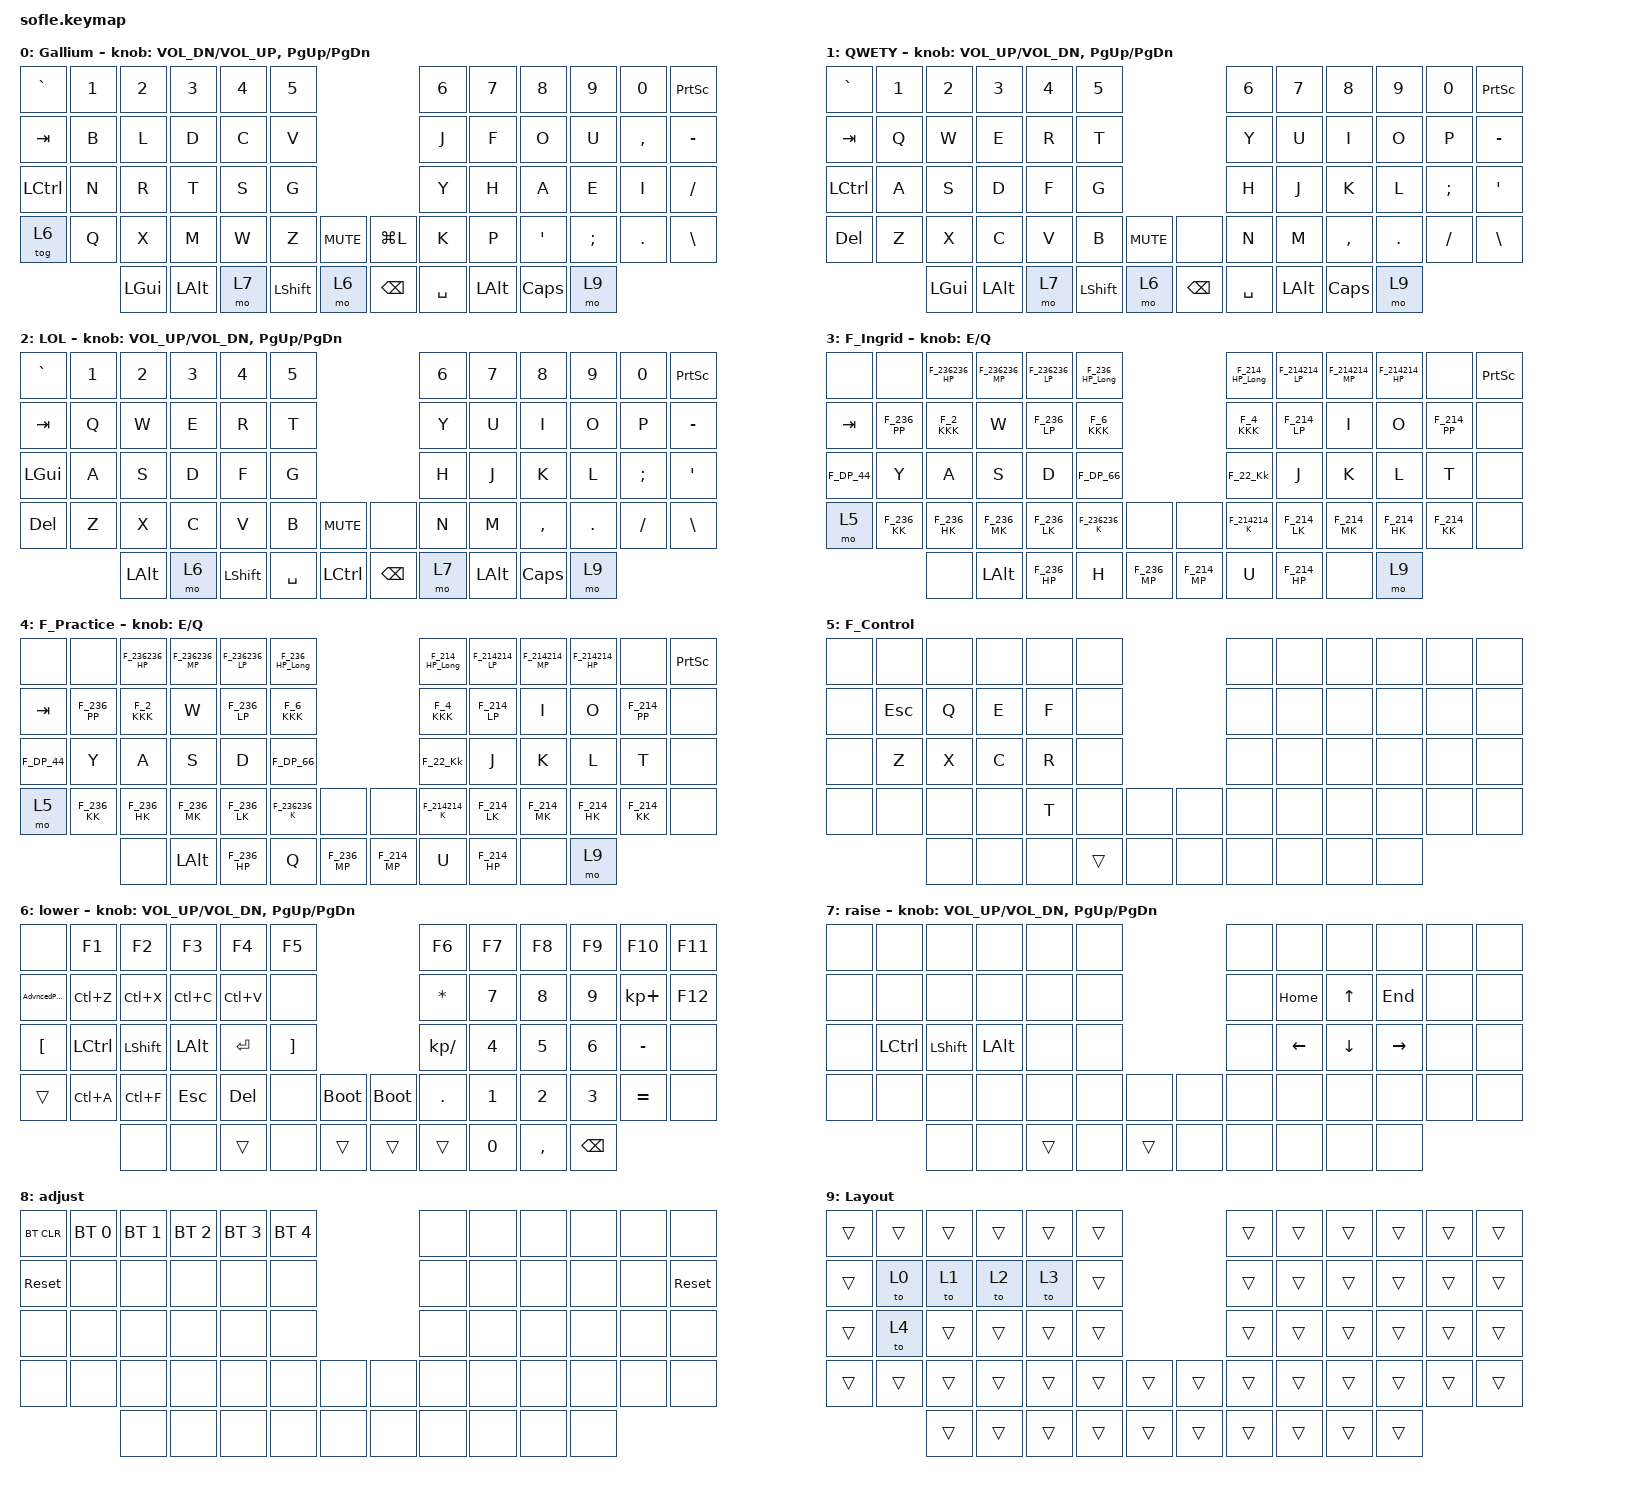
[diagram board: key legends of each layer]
/*
 * Copyright (c) 2020 The ZMK Contributors
 *
 * SPDX-License-Identifier: MIT
 */

#include <behaviors.dtsi>
#include <dt-bindings/zmk/bt.h>
#include <dt-bindings/zmk/keys.h>

#define BASE 0
#define LOWER 1
#define RAISE 2
#define ADJUST 3

/ {
    // Activate ADJUST layer by pressing raise and lower

    conditional_layers {
        compatible = "zmk,conditional-layers";

        adjust_layer {
            if-layers = <6 7>;
            then-layer = <8>;
        };
    };

    macros {
        AdvncedPaste: AdvncedPaste {
            compatible = "zmk,behavior-macro";
            #binding-cells = <0>;
            bindings =
                <&kp LS(LG(V))>,
                <&macro_wait_time 800>,
                <&kp LEFT_GUI>,
                <&macro_wait_time 800>,
                <&kp LEFT_GUI>,
                <&macro_wait_time 800>,
                <&kp LEFT_SHIFT>;

            label = "ADVNCEDPASTE";
        };

        F_623_MK: F_623_MK {
            compatible = "zmk,behavior-macro";
            #binding-cells = <0>;
            bindings = <&kp D &kp S &kp D &kp K>;
            label = "F_623_MK";
        };

        F_421_MK: F_421_MK {
            compatible = "zmk,behavior-macro";
            #binding-cells = <0>;
            bindings = <&kp A &kp S &kp A &kp K>;
            label = "F_421_MK";
        };

        F_623_MP: F_623_MP {
            compatible = "zmk,behavior-macro";
            #binding-cells = <0>;
            bindings = <&kp D &kp S &kp D &kp I>;
            label = "F_623_MP";
        };

        F_421_MP: F_421_MP {
            compatible = "zmk,behavior-macro";
            #binding-cells = <0>;
            bindings = <&kp A &kp S &kp A &kp I>;
            label = "F_421_MP";
        };

        F_236_MK: F_236_MK {
            compatible = "zmk,behavior-macro";
            #binding-cells = <0>;
            bindings =
                <&macro_press>,
                <&kp S &kp D>,
                <&macro_release>,
                <&kp S &kp D>,
                <&macro_tap>,
                <&kp K>;

            label = "F_236_MK";
        };

        F_214_MK: F_214_MK {
            compatible = "zmk,behavior-macro";
            #binding-cells = <0>;
            bindings =
                <&macro_press>,
                <&kp S &kp A>,
                <&macro_release>,
                <&kp S &kp A>,
                <&macro_tap>,
                <&kp K>;

            label = "F_214_MK";
        };

        F_236_MP: F_236_MP {
            compatible = "zmk,behavior-macro";
            #binding-cells = <0>;
            bindings =
                <&macro_press>,
                <&kp S &kp D>,
                <&macro_release>,
                <&kp S &kp D>,
                <&macro_tap>,
                <&kp I>;

            label = "F_236_MP";
        };

        F_214_MP: F_214_MP {
            compatible = "zmk,behavior-macro";
            #binding-cells = <0>;
            bindings =
                <&macro_press>,
                <&kp S &kp A>,
                <&macro_release>,
                <&kp S &kp A>,
                <&macro_tap>,
                <&kp I>;

            label = "F_214_MP";
        };

        F_623_LK: F_623_LK {
            compatible = "zmk,behavior-macro";
            #binding-cells = <0>;
            bindings = <&kp D &kp S &kp D &kp J>;
            label = "F_623_LK";
        };

        F_623_HK: F_623_HK {
            compatible = "zmk,behavior-macro";
            #binding-cells = <0>;
            bindings = <&kp D &kp S &kp D &kp L>;
            label = "F_623_HK";
        };

        F_421_LK: F_421_LK {
            compatible = "zmk,behavior-macro";
            #binding-cells = <0>;
            bindings = <&kp A &kp S &kp A &kp J>;
            label = "F_421_LK";
        };

        F_421_HK: F_421_HK {
            compatible = "zmk,behavior-macro";
            #binding-cells = <0>;
            bindings = <&kp A &kp S &kp A &kp L>;
            label = "F_421_HK";
        };

        F_623_LP: F_623_LP {
            compatible = "zmk,behavior-macro";
            #binding-cells = <0>;
            bindings = <&kp D &kp S &kp D &kp U>;
            label = "F_623_LP";
        };

        F_623_HP: F_623_HP {
            compatible = "zmk,behavior-macro";
            #binding-cells = <0>;
            bindings = <&kp D &kp S &kp D &kp O>;
            label = "F_623_HP";
        };

        F_421_LP: F_421_LP {
            compatible = "zmk,behavior-macro";
            #binding-cells = <0>;
            bindings = <&kp A &kp S &kp A &kp U>;
            label = "F_421_LP";
        };

        F_421_HP: F_421_HP {
            compatible = "zmk,behavior-macro";
            #binding-cells = <0>;
            bindings = <&kp A &kp S &kp A &kp O>;
            label = "F_421_HP";
        };

        F_236_LK: F_236_LK {
            compatible = "zmk,behavior-macro";
            #binding-cells = <0>;
            bindings =
                <&macro_press>,
                <&kp S &kp D>,
                <&macro_release>,
                <&kp S &kp D>,
                <&macro_tap>,
                <&kp J>;

            label = "F_236_LK";
        };

        F_236_HK: F_236_HK {
            compatible = "zmk,behavior-macro";
            #binding-cells = <0>;
            bindings =
                <&macro_press>,
                <&kp S &kp D>,
                <&macro_release>,
                <&kp S &kp D>,
                <&macro_tap>,
                <&kp L>;

            label = "F_236_HK";
        };

        F_214_LK: F_214_LK {
            compatible = "zmk,behavior-macro";
            #binding-cells = <0>;
            bindings =
                <&macro_press>,
                <&kp S &kp A>,
                <&macro_release>,
                <&kp S &kp A>,
                <&macro_tap>,
                <&kp J>;

            label = "F_214_LK";
        };

        F_214_HK: F_214_HK {
            compatible = "zmk,behavior-macro";
            #binding-cells = <0>;
            bindings =
                <&macro_press>,
                <&kp S &kp A>,
                <&macro_release>,
                <&kp S &kp A>,
                <&macro_tap>,
                <&kp L>;

            label = "F_214_HK";
        };

        F_236_LP: F_236_LP {
            compatible = "zmk,behavior-macro";
            #binding-cells = <0>;
            bindings =
                <&macro_press>,
                <&kp S &kp D>,
                <&macro_release>,
                <&kp S &kp D>,
                <&macro_tap>,
                <&kp U>;

            label = "F_236_LP";
        };

        F_236_HP: F_236_HP {
            compatible = "zmk,behavior-macro";
            #binding-cells = <0>;
            bindings =
                <&macro_press>,
                <&kp S &kp D>,
                <&macro_release>,
                <&kp S &kp D>,
                <&macro_tap>,
                <&kp O>;

            label = "F_236_HP";
        };

        F_214_LP: F_214_LP {
            compatible = "zmk,behavior-macro";
            #binding-cells = <0>;
            bindings =
                <&macro_press>,
                <&kp S &kp A>,
                <&macro_release>,
                <&kp S &kp A>,
                <&macro_tap>,
                <&kp U>;

            label = "F_214_LP";
        };

        F_214_HP: F_214_HP {
            compatible = "zmk,behavior-macro";
            #binding-cells = <0>;
            bindings =
                <&macro_press>,
                <&kp S &kp A>,
                <&macro_release>,
                <&kp S &kp A>,
                <&macro_tap>,
                <&kp O>;

            label = "F_214_HP";
        };

        F_623_KK: F_623_KK {
            compatible = "zmk,behavior-macro";
            #binding-cells = <0>;
            bindings = <&kp D &kp S &kp D &kp N>;
            label = "F_623_KK";
        };

        F_236_PP: F_236_PP {
            compatible = "zmk,behavior-macro";
            #binding-cells = <0>;
            bindings =
                <&macro_press>,
                <&kp S &kp D>,
                <&macro_release>,
                <&kp S &kp D>,
                <&macro_tap>,
                <&kp B>;

            label = "F_236_PP";
        };

        F_236_KK: F_236_KK {
            compatible = "zmk,behavior-macro";
            #binding-cells = <0>;
            bindings =
                <&macro_press>,
                <&kp S &kp D>,
                <&macro_release>,
                <&kp S &kp D>,
                <&macro_tap>,
                <&kp N>;

            label = "F_236_KK";
        };

        F_421_KK: F_421_KK {
            compatible = "zmk,behavior-macro";
            #binding-cells = <0>;
            bindings = <&kp A &kp S &kp A &kp N>;
            label = "F_421_KK";
        };

        F_214_PP: F_214_PP {
            compatible = "zmk,behavior-macro";
            #binding-cells = <0>;
            bindings =
                <&macro_press>,
                <&kp S &kp A>,
                <&macro_release>,
                <&kp S &kp A>,
                <&macro_tap>,
                <&kp B>;

            label = "F_214_PP";
        };

        F_214_KK: F_214_KK {
            compatible = "zmk,behavior-macro";
            #binding-cells = <0>;
            bindings =
                <&macro_press>,
                <&kp S &kp A>,
                <&macro_release>,
                <&kp S &kp A>,
                <&macro_tap>,
                <&kp N>;

            label = "F_214_KK";
        };

        F_236236_MP: F_236236_P {
            compatible = "zmk,behavior-macro";
            #binding-cells = <0>;
            bindings =
                <&macro_press>,
                <&kp S &kp D>,
                <&macro_release>,
                <&kp S &kp D>,
                <&macro_press>,
                <&kp S &kp D>,
                <&macro_release>,
                <&kp S &kp D>,
                <&macro_tap>,
                <&macro_tap_time 1800>,
                <&kp I>;

            label = "F_236236_P";
        };

        F_236236_K: F_236236_K {
            compatible = "zmk,behavior-macro";
            #binding-cells = <0>;
            bindings =
                <&macro_press>,
                <&kp S &kp D>,
                <&macro_release>,
                <&kp S &kp D>,
                <&macro_press>,
                <&kp S &kp D>,
                <&macro_release>,
                <&kp S &kp D>,
                <&macro_tap>,
                <&macro_tap_time 1200>,
                <&kp K>;

            label = "F_236236_K";
        };

        F_214214_MP: F_214214_P {
            compatible = "zmk,behavior-macro";
            #binding-cells = <0>;
            bindings =
                <&macro_press>,
                <&kp S &kp A>,
                <&macro_release>,
                <&kp S &kp A>,
                <&macro_press>,
                <&kp S &kp A>,
                <&macro_release>,
                <&kp S &kp A>,
                <&macro_tap>,
                <&macro_tap_time 1800>,
                <&kp I>;

            label = "F_214214_P";
        };

        F_214214_K: F_214214_K {
            compatible = "zmk,behavior-macro";
            #binding-cells = <0>;
            bindings =
                <&macro_press>,
                <&kp S &kp A>,
                <&macro_release>,
                <&kp S &kp A>,
                <&macro_press>,
                <&kp S &kp A>,
                <&macro_release>,
                <&kp S &kp A>,
                <&macro_tap>,
                <&macro_tap_time 1200>,
                <&kp K>;

            label = "F_214214_K";
        };

        F_4_KKK: F_4_KKK {
            compatible = "zmk,behavior-macro";
            #binding-cells = <0>;
            bindings =
                <&macro_press>,
                <&kp A>,
                <&macro_tap>,
                <&kp G>,
                <&macro_release>,
                <&kp A>;

            label = "F_4_KKK";
        };

        F_2_KKK: F_2_KKK {
            compatible = "zmk,behavior-macro";
            #binding-cells = <0>;
            bindings =
                <&macro_press>,
                <&kp S>,
                <&macro_tap>,
                <&kp G>,
                <&macro_release>,
                <&kp S>;

            label = "F_2_KKK";
        };

        F_6_KKK: F_6_KKK {
            compatible = "zmk,behavior-macro";
            #binding-cells = <0>;
            bindings =
                <&macro_press>,
                <&kp D>,
                <&macro_tap>,
                <&kp G>,
                <&macro_release>,
                <&kp D>;

            label = "F_6_KKK";
        };

        F_22_K: F_22_K {
            compatible = "zmk,behavior-macro";
            #binding-cells = <0>;
            bindings = <&kp S &kp S &kp J>;
            label = "F_22_K";
        };

        F_214214_LP: F_214214_LP {
            compatible = "zmk,behavior-macro";
            #binding-cells = <0>;
            bindings =
                <&macro_press>,
                <&kp S &kp A>,
                <&macro_release>,
                <&kp S &kp A>,
                <&macro_press>,
                <&kp S &kp A>,
                <&macro_release>,
                <&kp S &kp A>,
                <&macro_tap>,
                <&macro_tap_time 1800>,
                <&kp U>;

            label = "F_214214_LP";
        };

        F_214214_HP: F_214214_HP {
            compatible = "zmk,behavior-macro";
            #binding-cells = <0>;
            bindings =
                <&macro_press>,
                <&kp S &kp A>,
                <&macro_release>,
                <&kp S &kp A>,
                <&macro_press>,
                <&kp S &kp A>,
                <&macro_release>,
                <&kp S &kp A>,
                <&macro_tap>,
                <&macro_tap_time 1800>,
                <&kp O>;

            label = "F_214214_HP";
        };

        F_236236_LP: F_236236_LP {
            compatible = "zmk,behavior-macro";
            #binding-cells = <0>;
            bindings =
                <&macro_press>,
                <&kp S &kp D>,
                <&macro_release>,
                <&kp S &kp D>,
                <&macro_press>,
                <&kp S &kp D>,
                <&macro_release>,
                <&kp S &kp D>,
                <&macro_tap>,
                <&macro_tap_time 1800>,
                <&kp U>;

            label = "F_236236_LP";
        };

        F_236236_HP: F_236236_HP {
            compatible = "zmk,behavior-macro";
            #binding-cells = <0>;
            bindings =
                <&macro_press>,
                <&kp S &kp D>,
                <&macro_release>,
                <&kp S &kp D>,
                <&macro_press>,
                <&kp S &kp D>,
                <&macro_release>,
                <&kp S &kp D>,
                <&macro_tap>,
                <&macro_tap_time 1800>,
                <&kp O>;

            label = "F_236236_HP";
        };

        F_22_Kk: F_22_Kk {
            compatible = "zmk,behavior-macro";
            #binding-cells = <0>;
            bindings = <&kp S &kp S &kp N>;
            label = "F_22_KK";
        };

        F_DP_66: F_DP_66 {
            compatible = "zmk,behavior-macro";
            #binding-cells = <0>;
            bindings =
                <&macro_press>,
                <&kp H>,
                <&macro_tap>,
                <&kp D &kp D>,
                <&macro_release>,
                <&kp H>;

            label = "F_DP_66";
        };

        F_DP_44: F_DP_44 {
            compatible = "zmk,behavior-macro";
            #binding-cells = <0>;
            bindings =
                <&macro_press>,
                <&kp H>,
                <&macro_tap>,
                <&kp A &kp A>,
                <&macro_release>,
                <&kp H>;

            label = "F_DP_44";
        };

        F_236_HP_Long: F_236_HP_Long {
            compatible = "zmk,behavior-macro";
            #binding-cells = <0>;
            bindings =
                <&macro_press>,
                <&kp S &kp D>,
                <&macro_release>,
                <&kp S &kp D>,
                <&macro_tap>,
                <&macro_tap_time 300>,
                <&kp O>;

            label = "F_236_HP_LONG";
        };

        F_214_HP_Long: F_214_HP_Long {
            compatible = "zmk,behavior-macro";
            #binding-cells = <0>;
            bindings =
                <&macro_press>,
                <&kp S &kp A>,
                <&macro_release>,
                <&kp S &kp A>,
                <&macro_tap>,
                <&macro_tap_time 300>,
                <&kp O>;

            label = "F_214_HP_LONG";
        };
    };

    keymap {
        compatible = "zmk,keymap";

        Gallium_layer {
            label = "Gallium";

            // ------------------------------------------------------------------------------------------------------------
            // |   `   |  1  |  2  |  3   |  4   |  5   |                   |  6   |  7    |  8    |  9   |   0   |       |
            // |  ESC  |  Q  |  W  |  E   |  R   |  T   |                   |  Y   |  U    |  I    |  O   |   P   | BKSPC |
            // |  TAB  |  A  |  S  |  D   |  F   |  G   |                   |  H   |  J    |  K    |  L   |   ;   |   '   |
            // | SHIFT |  Z  |  X  |  C   |  V   |  B   |  MUTE  |  |       |  N   |  M    |  ,    |  .   |   /   | SHIFT |
            //               | GUI | ALT  | CTRL | LOWER|  ENTER |  | SPACE | RAISE| CTRL  | ALT   | GUI  |

            bindings = <
&kp GRAVE  &kp N1  &kp N2    &kp N3    &kp N4  &kp N5                              &kp N6     &kp N7    &kp N8    &kp N9    &kp N0     &kp PRINTSCREEN
&kp TAB    &kp B   &kp L     &kp D     &kp C   &kp V                               &kp J      &kp F     &kp O     &kp U     &kp COMMA  &kp MINUS
&kp LCTRL  &kp N   &kp R     &kp T     &kp S   &kp G                               &kp Y      &kp H     &kp A     &kp E     &kp I      &kp FSLH
&tog 6     &kp Q   &kp X     &kp M     &kp W   &kp Z      &kp C_MUTE    &kp LG(L)  &kp K      &kp P     &kp APOS  &kp SEMI  &kp DOT    &kp BSLH
                   &kp LGUI  &kp LALT  &mo 7   &kp LSHFT  &mo 6         &kp BSPC   &kp SPACE  &kp LALT  &kp CAPS  &mo 9
            >;

            sensor-bindings =
                <&inc_dec_kp C_VOL_DN C_VOL_UP>,
                <&inc_dec_kp PG_UP PG_DN>;
        };

        QWETY_layer {
            label = "QWETY";
            bindings = <
&kp GRAVE  &kp N1  &kp N2    &kp N3    &kp N4  &kp N5                             &kp N6     &kp N7    &kp N8     &kp N9   &kp N0    &kp PRINTSCREEN
&kp TAB    &kp Q   &kp W     &kp E     &kp R   &kp T                              &kp Y      &kp U     &kp I      &kp O    &kp P     &kp MINUS
&kp LCTRL  &kp A   &kp S     &kp D     &kp F   &kp G                              &kp H      &kp J     &kp K      &kp L    &kp SEMI  &kp APOS
&kp DEL    &kp Z   &kp X     &kp C     &kp V   &kp B      &kp C_MUTE    &none     &kp N      &kp M     &kp COMMA  &kp DOT  &kp FSLH  &kp BSLH
                   &kp LGUI  &kp LALT  &mo 7   &kp LSHFT  &mo 6         &kp BSPC  &kp SPACE  &kp LALT  &kp CAPS   &mo 9
            >;

            sensor-bindings =
                <&inc_dec_kp C_VOL_UP C_VOL_DN>,
                <&inc_dec_kp PG_UP PG_DN>;
        };

        LOL_layer {
            label = "LOL";
            bindings = <
&kp GRAVE     &kp N1  &kp N2        &kp N3  &kp N4     &kp N5                             &kp N6  &kp N7    &kp N8     &kp N9   &kp N0    &kp PRINTSCREEN
&kp TAB       &kp Q   &kp W         &kp E   &kp R      &kp T                              &kp Y   &kp U     &kp I      &kp O    &kp P     &kp MINUS
&kp LEFT_GUI  &kp A   &kp S         &kp D   &kp F      &kp G                              &kp H   &kp J     &kp K      &kp L    &kp SEMI  &kp APOS
&kp DEL       &kp Z   &kp X         &kp C   &kp V      &kp B      &kp C_MUTE    &none     &kp N   &kp M     &kp COMMA  &kp DOT  &kp FSLH  &kp BSLH
                      &kp LEFT_ALT  &mo 6   &kp LSHFT  &kp SPACE  &kp LCTRL     &kp BSPC  &mo 7   &kp LALT  &kp CAPS   &mo 9
            >;

            sensor-bindings =
                <&inc_dec_kp C_VOL_UP C_VOL_DN>,
                <&inc_dec_kp PG_UP PG_DN>;
        };

        F_Ingrid_layer {
            bindings = <
&none     &none      &F_236236_HP  &F_236236_MP  &F_236236_LP  &F_236_HP_Long                          &F_214_HP_Long  &F_214214_LP  &F_214214_MP  &F_214214_HP  &none      &kp PRINTSCREEN
&kp TAB   &F_236_PP  &F_2_KKK      &kp W         &F_236_LP     &F_6_KKK                                &F_4_KKK        &F_214_LP     &kp I         &kp O         &F_214_PP  &none
&F_DP_44  &kp Y      &kp A         &kp S         &kp D         &F_DP_66                                &F_22_Kk        &kp J         &kp K         &kp L         &kp T      &none
&mo 5     &F_236_KK  &F_236_HK     &F_236_MK     &F_236_LK     &F_236236_K     &none        &none      &F_214214_K     &F_214_LK     &F_214_MK     &F_214_HK     &F_214_KK  &none
                     &none         &kp LALT      &F_236_HP     &kp H           &F_236_MP    &F_214_MP  &kp U           &F_214_HP     &none         &mo 9
            >;

            label = "F_Ingrid";
            sensor-bindings = <&inc_dec_kp E Q>;
        };

        F_Practice_layer {
            label = "F_Practice";
            bindings = <
&none     &none      &F_236236_HP  &F_236236_MP  &F_236236_LP  &F_236_HP_Long                          &F_214_HP_Long  &F_214214_LP  &F_214214_MP  &F_214214_HP  &none      &kp PRINTSCREEN
&kp TAB   &F_236_PP  &F_2_KKK      &kp W         &F_236_LP     &F_6_KKK                                &F_4_KKK        &F_214_LP     &kp I         &kp O         &F_214_PP  &none
&F_DP_44  &kp Y      &kp A         &kp S         &kp D         &F_DP_66                                &F_22_Kk        &kp J         &kp K         &kp L         &kp T      &none
&mo 5     &F_236_KK  &F_236_HK     &F_236_MK     &F_236_LK     &F_236236_K     &none        &none      &F_214214_K     &F_214_LK     &F_214_MK     &F_214_HK     &F_214_KK  &none
                     &none         &kp LALT      &F_236_HP     &kp Q           &F_236_MP    &F_214_MP  &kp U           &F_214_HP     &none         &mo 9
            >;

            sensor-bindings = <&inc_dec_kp E Q>;
        };

        F_Control_Layer {
            label = "F_Control";
            bindings = <
&none  &none    &none  &none  &none  &none                   &none  &none  &none  &none  &none  &none
&none  &kp ESC  &kp Q  &kp E  &kp F  &none                   &none  &none  &none  &none  &none  &none
&none  &kp Z    &kp X  &kp C  &kp R  &none                   &none  &none  &none  &none  &none  &none
&none  &none    &none  &none  &kp T  &none   &none    &none  &none  &none  &none  &none  &none  &none
                &none  &none  &none  &trans  &none    &none  &none  &none  &none  &none
            >;
        };

        lower_layer {
            label = "lower";

            // TODO: Some binds are waiting for shifted keycode support.
            // ------------------------------------------------------------------------------------------------------------
            // |       |  F1 |  F2 |  F3  |  F4  |  F5  |                   |  F6  |  F7   |  F8   |  F9  |  F10  |  F11  |
            // |   `   |  1  |  2  |  3   |  4   |  5   |                   |  6   |  7    |  8    |  9   |   0   |  F12  |
            // |       |  !  |  @  |  #   |  $   |  %   |                   |  ^   |  &    |  *    |  (   |   )   |   |   |
            // |       |  =  |  -  |  +   |  {   |  }   |        |  |       |  [   |  ]    |  ;    |  :   |   \   |       |
            //               |     |      |      |      |        |  |       |      |       |       |      |

            bindings = <
&none             &kp F1            &kp F2          &kp F3        &kp F4      &kp F5                                         &kp F6         &kp F7  &kp F8     &kp F9         &kp F10      &kp F11
&AdvncedPaste     &kp LC(Z)         &kp LC(X)       &kp LC(C)     &kp LC(V)   &none                                          &kp ASTRK      &kp N7  &kp N8     &kp N9         &kp KP_PLUS  &kp F12
&kp LEFT_BRACKET  &kp LEFT_CONTROL  &kp LEFT_SHIFT  &kp LEFT_ALT  &kp ENTER   &kp RIGHT_BRACKET                              &kp KP_DIVIDE  &kp N4  &kp N5     &kp N6         &kp MINUS    &none
&trans            &kp LC(A)         &kp LC(F)       &kp ESCAPE    &kp DELETE  &none              &bootloader    &bootloader  &kp DOT        &kp N1  &kp N2     &kp N3         &kp EQUAL    &none
                                    &none           &none         &trans      &none              &trans         &trans       &trans         &kp N0  &kp COMMA  &kp BACKSPACE
            >;

            sensor-bindings = <&inc_dec_kp C_VOL_UP C_VOL_DN &inc_dec_kp PG_UP PG_DN>;
        };

        raise_layer {
            label = "raise";

            // ------------------------------------------------------------------------------------------------------------
            // | BTCLR | BT1  | BT2  |  BT3  |  BT4  |  BT5 |                |      |      |       |      |       |       |
            // |       | INS  | PSCR | GUI   |       |      |                | PGUP |      |   ^   |      |       |       |
            // |       | ALT  | CTRL | SHIFT |       | CAPS |                | PGDN |   <- |   v   |  ->  |  DEL  | BKSPC |
            // |       | UNDO | CUT  | COPY  | PASTE |      |      |  |      |      |      |       |      |       |       |
            //                |      |       |       |      |      |  |      |      |      |       |      |

            bindings = <
&none  &none      &none           &none         &none   &none                   &none  &none     &none     &none      &none  &none
&none  &none      &none           &none         &none   &none                   &none  &kp HOME  &kp UP    &kp END    &none  &none
&none  &kp LCTRL  &kp LEFT_SHIFT  &kp LEFT_ALT  &none   &none                   &none  &kp LEFT  &kp DOWN  &kp RIGHT  &none  &none
&none  &none      &none           &none         &none   &none  &none     &none  &none  &none     &none     &none      &none  &none
                  &none           &none         &trans  &none  &trans    &none  &none  &none     &none     &none
            >;

            sensor-bindings = <&inc_dec_kp C_VOL_UP C_VOL_DN &inc_dec_kp PG_UP PG_DN>;
        };

        adjust_layer {
            // ----------------------------------------------------------------------------------------------------------------------------
            // | BTCLR  |  BT1    |  BT2    |   BT3   |   BT4   |   BT5   |                  |      |      |       |      |       |       |
            // | EXTPWR | RGB_HUD | RGB_HUI | RGB_SAD | RGB_SAI | RGB_EFF |                  |      |      |       |      |       |       |
            // |        | RGB_BRD | RGB_BRI |         |         |         |                  |      |      |       |      |       |       |
            // |        |         |         |         |         |         | RGB_TOG | |      |      |      |       |      |       |       |
            //                    |         |         |         |         |         | |      |      |      |       |      |

            label = "adjust";
            bindings = <
&bt BT_CLR  &bt BT_SEL 0  &bt BT_SEL 1  &bt BT_SEL 2  &bt BT_SEL 3  &bt BT_SEL 4                  &none  &none  &none  &none  &none  &none
&sys_reset  &none         &none         &none         &none         &none                         &none  &none  &none  &none  &none  &sys_reset
&none       &none         &none         &none         &none         &none                         &none  &none  &none  &none  &none  &none
&none       &none         &none         &none         &none         &none         &none    &none  &none  &none  &none  &none  &none  &none
                          &none         &none         &none         &none         &none    &none  &none  &none  &none  &none
            >;
        };

        Layout_layer {
            bindings = <
&trans  &trans  &trans  &trans  &trans  &trans                    &trans  &trans  &trans  &trans  &trans  &trans
&trans  &to 0   &to 1   &to 2   &to 3   &trans                    &trans  &trans  &trans  &trans  &trans  &trans
&trans  &to 4   &trans  &trans  &trans  &trans                    &trans  &trans  &trans  &trans  &trans  &trans
&trans  &trans  &trans  &trans  &trans  &trans  &trans    &trans  &trans  &trans  &trans  &trans  &trans  &trans
                &trans  &trans  &trans  &trans  &trans    &trans  &trans  &trans  &trans  &trans
            >;

            label = "Layout";
        };
    };
};
